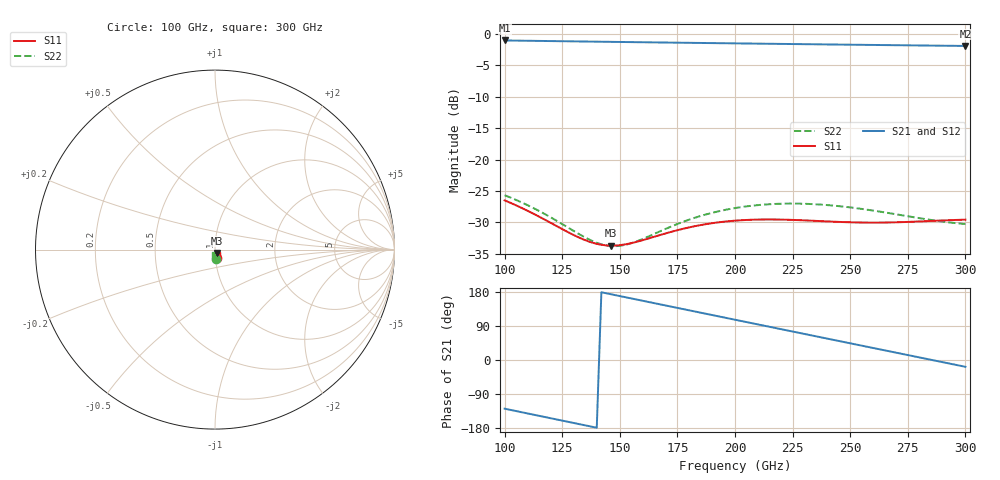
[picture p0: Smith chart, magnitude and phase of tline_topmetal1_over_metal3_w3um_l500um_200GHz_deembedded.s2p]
! Created with skrf 2.2.0 (http://scikit-rf.org).
# GHz S DB R 50.0
! Port[1] = P1
! Port[2] = P2
!freq dBS11 angS11 dBS21 angS21 dBS12 angS12 dBS22 angS22
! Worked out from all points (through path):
!   101 points, 100 GHz to 300 GHz, reference 50 ohm
!   highest |S21| = -1.01 dB at 100 GHz (marker M1); lowest = -1.9 dB at 300 GHz (marker M2)
!   group delay of S21, straight-line fit = 3.46 ps
!   lowest |S11| = -33.7 dB at 146 GHz (marker M3), VSWR 1.04, Z = 50.8 - j1.9 ohm
!   |S11| at or under -10 dB: start of sweep to end of sweep
!   |S22| runs from -33.8 to -25.7 dB; largest |S21 - S12| = 9.4e-14
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100  -26.51 -79.0  -1.01 -128.5  -1.01 -128.5  -25.69 -84.1
110  -28.17 -84.1  -1.06 -141.1  -1.06 -141.1  -27.28 -90.8
118  -29.69 -85.8  -1.10 -151.1  -1.10 -151.1  -28.80 -94.0
126  -31.28 -84.3  -1.14 -161.2  -1.14 -161.2  -30.51 -94.2
134  -32.71 -78.9  -1.18 -171.2  -1.18 -171.2  -32.23 -89.8
140  -33.44 -72.4  -1.21 -178.8  -1.21 -178.8  -33.27 -83.0
146  -33.72 -64.9  -1.24 173.7  -1.24 173.7  -33.79 -73.7
154  -33.41 -56.1  -1.27 163.7  -1.27 163.7  -33.45 -61.6
168  -31.98 -48.9  -1.34 146.2  -1.34 146.2  -31.35 -51.3
184  -30.52 -50.3  -1.41 126.2  -1.41 126.2  -29.12 -53.5
200  -29.74 -55.8  -1.48 106.3  -1.48 106.3  -27.73 -61.7
208  -29.59 -58.9  -1.51 96.3  -1.51 96.3  -27.33 -66.6
216  -29.55 -61.7  -1.55 86.4  -1.55 86.4  -27.10 -71.7
224  -29.61 -64.1  -1.58 76.4  -1.58 76.4  -27.02 -76.7
234  -29.76 -66.3  -1.62 64.0  -1.62 64.0  -27.11 -82.5
242  -29.89 -67.5  -1.66 54.0  -1.66 54.0  -27.32 -86.8
252  -30.02 -68.2  -1.70 41.6  -1.70 41.6  -27.72 -91.3
268  -30.02 -68.5  -1.76 21.7  -1.76 21.7  -28.61 -96.1
276  -29.93 -68.8  -1.80 11.8  -1.80 11.8  -29.10 -97.1
284  -29.81 -69.5  -1.83 1.9  -1.83 1.9  -29.57 -97.1
292  -29.68 -70.5  -1.86 -8.0  -1.86 -8.0  -29.98 -96.2
300  -29.58 -71.9  -1.89 -17.9  -1.89 -17.9  -30.28 -94.5
